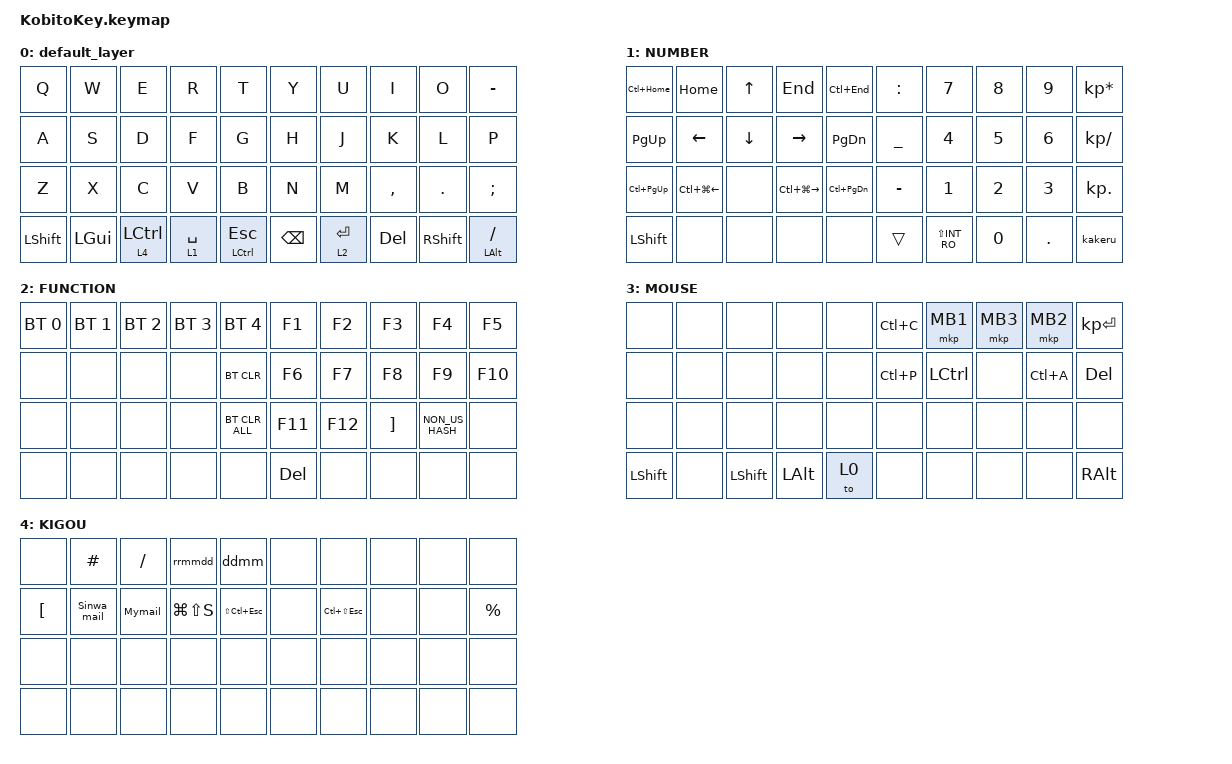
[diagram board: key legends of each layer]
#include <input/processors.dtsi>
#include <behaviors.dtsi>
#include <dt-bindings/zmk/bt.h>
#include <dt-bindings/zmk/keys.h>
#include <dt-bindings/zmk/pointing.h>

/ {
    combos {
        compatible = "zmk,combos";

        combo_eisu {
            timeout-ms = <50>;
            key-positions = <12 13>;
            bindings = <&kp LANG2>;
        };

        combo_kana {
            timeout-ms = <50>;
            key-positions = <16 17>;
            bindings = <&kp LANG1>;
        };

        combo_tab {
            timeout-ms = <50>;
            key-positions = <11 12>;
            bindings = <&kp TAB>;
        };

        combo_shifttab {
            timeout-ms = <50>;
            key-positions = <10 11>;
            bindings = <&kp LS(TAB)>;
        };

        combo_kakko1 {
            timeout-ms = <50>;
            key-positions = <17 18>;
            bindings = <&kakko>;
        };

        combo_kakko2 {
            timeout-ms = <50>;
            key-positions = <7 8>;
            bindings = <&Kakko2>;
        };

        combo_kakko3 {
            timeout-ms = <50>;
            key-positions = <27 28>;
            bindings = <&Kakko3>;
        };
    };

    macros {
        kakko: kakko {
            compatible = "zmk,behavior-macro";
            #binding-cells = <0>;
            bindings = <&kp RBKT &kp NUHS &kp ENTER &kp LEFT>;
            label = "NEW_MACRO";
        };

        Kakko2: Kakko2 {
            compatible = "zmk,behavior-macro";
            #binding-cells = <0>;
            bindings = <&kp LS(N8) &kp LS(N9) &kp ENTER &kp LEFT>;
            label = "KAKKO2";
        };

        Sinwa_mail: Sinwa_mail {
            compatible = "zmk,behavior-macro";
            #binding-cells = <0>;
            bindings = <&kp F &kp MINUS &kp S &kp A &kp T &kp O &kp AT &kp S &kp I &kp N &kp W &kp A &kp DOT &kp J &kp P>;
            label = "SINWA_MAIL";
        };

        Mymail: Mymail {
            compatible = "zmk,behavior-macro";
            #binding-cells = <0>;
            bindings = <&kp O &kp T &kp N0 &kp DOT &kp F &kp U &kp N &kp DOT &kp N2 &kp AT &kp G &kp M &kp A &kp I &kp L &kp DOT &kp C &kp O &kp M>;
            label = "MYMAIL";
        };

        Kakko3: Kakko3 {
            compatible = "zmk,behavior-macro";
            #binding-cells = <0>;
            bindings = <&kp LESS_THAN &kp GREATER_THAN &kp LEFT>;
            label = "KAKKO3";
        };

        rrmmdd: rrmmdd {
            compatible = "zmk,behavior-macro";
            #binding-cells = <0>;
            wait-ms = <30>;
            tap-ms = <30>;
            bindings =
                <&macro_press>,
                <&kp INT_HENKAN>,
                <&macro_tap>,
                <&kp R>,
                <&macro_release>,
                <&kp INT_HENKAN>;

            label = "REIWA";
        };

        ddmm: ddmm {
            compatible = "zmk,behavior-macro";
            #binding-cells = <0>;
            wait-ms = <30>;
            tap-ms = <30>;
            bindings =
                <&macro_press>,
                <&kp INT_HENKAN>,
                <&macro_tap>,
                <&kp T>,
                <&macro_release>,
                <&kp INT_HENKAN>;

            label = "DDMM";
        };

        kakeru: kakeru {
            compatible = "zmk,behavior-macro";
            #binding-cells = <0>;
            wait-ms = <30>;
            tap-ms = <30>;
            bindings =
                <&macro_press>,
                <&kp INT_HENKAN>,
                <&macro_tap>,
                <&kp K>,
                <&macro_release>,
                <&kp INT_HENKAN>;

            label = "KAKERU";
        };
    };

    behaviors {
        At_and: At_and {
            compatible = "zmk,behavior-tap-dance";
            label = "AT_AND";
            #binding-cells = <0>;
            bindings = <&kp AT>, <&kp AMPERSAND>;
        };
    };

    keymap {
        compatible = "zmk,keymap";

        default_layer {
            bindings = <
&kp Q      &kp W         &kp E        &kp R        &kp T          &kp Y     &kp U        &kp I      &kp O      &kp MINUS
&kp A      &kp S         &kp D        &kp F        &kp G          &kp H     &kp J        &kp K      &kp L      &kp P
&kp Z      &kp X         &kp C        &kp V        &kp B          &kp N     &kp M        &kp COMMA  &kp DOT    &kp SEMI
&kp LSHFT  &kp LEFT_GUI  &lt 4 LCTRL  &lt 1 SPACE  &mt LCTRL ESC  &kp BSPC  &lt 2 ENTER  &kp DEL    &kp RSHFT  &mt LALT SLASH
            >;
        };

        NUMBER {
            label = "NUMBER";
            bindings = <
&kp LC(HOME)     &kp HOME          &kp UP    &kp END            &kp LC(END)        &kp COLON       &kp N7          &kp N8        &kp N9        &kp KP_MULTIPLY
&kp PAGE_UP      &kp LEFT          &kp DOWN  &kp RIGHT          &kp PAGE_DOWN      &kp UNDERSCORE  &kp NUMBER_4    &kp N5        &kp NUMBER_6  &kp KP_DIVIDE
&kp LC(PAGE_UP)  &kp LC(LG(LEFT))  &none     &kp LC(LG(RIGHT))  &kp LC(PAGE_DOWN)  &kp MINUS       &kp NUMBER_1    &kp NUMBER_2  &kp NUMBER_3  &kp KP_DOT
&kp LSHFT        &none             &none     &none              &none              &trans          &kp LS(INT_RO)  &kp N0        &kp PERIOD    &kakeru
            >;
        };

        Fn-BLE {
            label = "FUNCTION";
            bindings = <
&bt BT_SEL 0  &bt BT_SEL 1  &bt BT_SEL 2  &bt BT_SEL 3  &bt BT_SEL 4    &kp F1   &kp F2   &kp F3    &kp F4           &kp F5
&none         &none         &none         &none         &bt BT_CLR      &kp F6   &kp F7   &kp F8    &kp F9           &kp F10
&none         &none         &none         &none         &bt BT_CLR_ALL  &kp F11  &kp F12  &kp RBKT  &kp NON_US_HASH  &none
&none         &none         &none         &none         &none           &kp DEL  &none    &none     &none            &none
            >;
        };

        MOUSE {
            label = "MOUSE";
            bindings = <
&none      &none  &none       &none     &none  &kp LC(C)  &mkp MB1   &mkp MB3  &mkp MB2   &kp KP_ENTER
&none      &none  &none       &none     &none  &kp LC(P)  &kp LCTRL  &none     &kp LC(A)  &kp DEL
&none      &none  &none       &none     &none  &none      &none      &none     &none      &none
&kp LSHFT  &none  &kp LSHIFT  &kp LALT  &to 0  &none      &none      &none     &none      &kp RALT
            >;
        };

        KIGOU {
            bindings = <
&none     &kp HASH     &kp SLASH  &rrmmdd        &ddmm            &none  &none            &none  &none  &none
&kp LBKT  &Sinwa_mail  &Mymail    &kp LG(LS(S))  &kp LS(LC(ESC))  &none  &kp LC(LS(ESC))  &none  &none  &kp PERCENT
&none     &none        &none      &none          &none            &none  &none            &none  &none  &none
&none     &none        &none      &none          &none            &none  &none            &none  &none  &none
            >;
        };
    };
};
